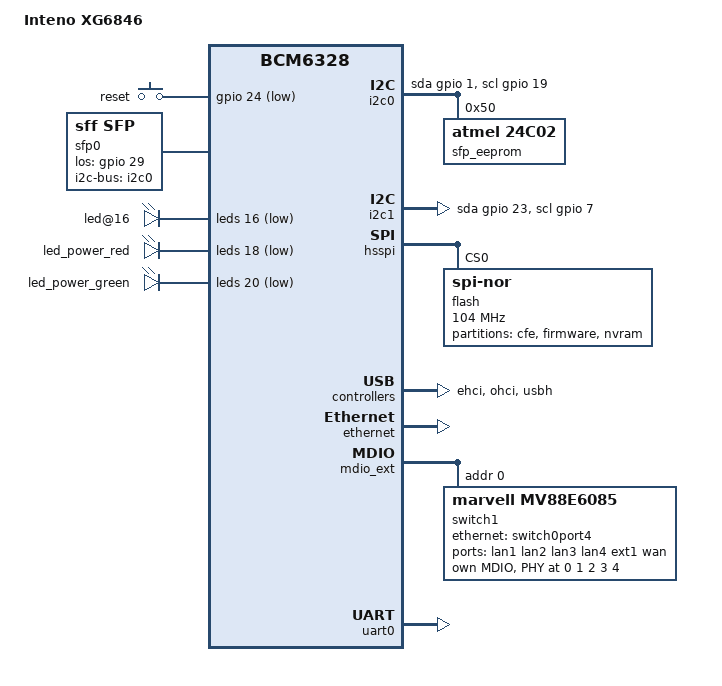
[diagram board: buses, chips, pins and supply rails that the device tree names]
// SPDX-License-Identifier: GPL-2.0

/*
 * Devicetree for the Inteno XG6846 router, mostly used as a
 * media converter from fiber to twisted pair ethernet
 * "fiber modem" in many households in Sweden. The Marvell
 * switch has one of its ports connected to an SFP (Small Form
 * Factor pluggable) optical fiber receiver, which is bridged
 * to the twisted pair connector LAN1.
 *
 * This device tree is inspired by research from the OpenWrt
 * and Sweclockers forums, including contributions from
 * NPeca75, mrhaav and csom.
 *
 * Some devices have a USB type A host receptacle mounted,
 * some do not.
 */

#include "bcm6328.dtsi"

/ {
	model = "Inteno XG6846";
	compatible = "inteno,xg6846", "brcm,bcm6328";

	aliases {
		led-boot = &led_power_red;
		led-failsafe = &led_power_red;
		led-running = &led_power_green;
		led-upgrade = &led_power_red;
	};

	/*
	 * This I2C port is connected to the SFP and reflects the EEPROM etc
	 * inside the SFP module. If the module is not plugged in, consequently
	 * nothing will be found on the bus.
	 */
	i2c0: i2c-sfp {
		compatible = "i2c-gpio";
		sda-gpios = <&gpio 1 (GPIO_ACTIVE_HIGH | GPIO_OPEN_DRAIN)>;
		scl-gpios = <&gpio 19 (GPIO_ACTIVE_HIGH | GPIO_OPEN_DRAIN)>;
		#address-cells = <1>;
		#size-cells = <0>;

		sfp_eeprom: eeprom@50 {
			compatible = "atmel,24c02";
			reg = <0x50>;
			read-only;
		};
	};

	/* This I2C bus is used for the external CATV connector (usually unused) */
	i2c1: i2c-catv {
		compatible = "i2c-gpio";
		sda-gpios = <&gpio 23 (GPIO_ACTIVE_HIGH | GPIO_OPEN_DRAIN)>;
		scl-gpios = <&gpio 7 (GPIO_ACTIVE_HIGH | GPIO_OPEN_DRAIN)>;
		#address-cells = <1>;
		#size-cells = <0>;
	};

	keys {
		compatible = "gpio-keys-polled";
		poll-interval = <100>;

		reset {
			label = "reset";
			gpios = <&gpio 24 GPIO_ACTIVE_LOW>;
			linux,code = <KEY_RESTART>;
			debounce-interval = <60>;
		};
	};

	sfp0: sfp0 {
		compatible = "sff,sfp";
		i2c-bus = <&i2c0>;
		los-gpios = <&gpio 29 GPIO_ACTIVE_HIGH>;
	};
};

&hsspi {
	status = "okay";

	flash@0 {
		compatible = "jedec,spi-nor";
		/*
		 * HW 1.0-1.1: Spansion S25FL128S1
		 * HW 1.3: Winbond W25Q128
		 *
		 * Fast Read Data max speed is 50MHz, see the Winbond W25Q128
		 * datasheet table 9.5 "AC Electrical Characteristics", we can
		 * use this speed because the chip supports fast reads. Older
		 * HW has different NOR chips, I assume they can all do fast
		 * reads.
		 */
		spi-max-frequency = <104000000>;
		spi-tx-bus-width = <2>;
		spi-rx-bus-width = <2>;
		m25p,fast-read;
		reg = <0>;

		#address-cells = <1>;
		#size-cells = <1>;

		partitions {
			compatible = "fixed-partitions";
			#address-cells = <1>;
			#size-cells = <1>;

			partition@0 {
				label = "cfe";
				reg = <0x0000000 0x0010000>;
				read-only;

				nvmem-layout {
					compatible = "fixed-layout";
					#address-cells = <1>;
					#size-cells = <1>;

					macaddr_cfe_6a0: macaddr@6a0 {
						reg = <0x6a0 0x6>;
					};
				};
			};

			partition@10000 {
				compatible = "openwrt,uimage", "denx,uimage";
				reg = <0x010000 0xfe0000>;
				label = "firmware";
				openwrt,offset = <0x30000>;
			};

			partition@ff0000 {
				reg = <0xff0000 0x010000>;
				label = "nvram";
			};
		};
	};
};

&ehci {
	status = "okay";
};

&ethernet {
	status = "okay";

	nvmem-cells = <&macaddr_cfe_6a0>;
	nvmem-cell-names = "mac-address";
};

&leds {
	status = "okay";
	pinctrl-names = "default";
	pinctrl-0 = <&pinctrl_leds>,
		    <&pinctrl_ephy1_spd_led>,
		    <&pinctrl_ephy3_spd_led>;

	led@16 {
		reg = <16>;
		active-low;
		function = LED_FUNCTION_USB;
		color = <LED_COLOR_ID_GREEN>;
	};

	led_power_red: led@18 {
		reg = <18>;
		active-low;
		function = LED_FUNCTION_POWER;
		color = <LED_COLOR_ID_RED>;
		panic-indicator;
	};

	led_power_green: led@20 {
		reg = <20>;
		active-low;
		function = LED_FUNCTION_POWER;
		color = <LED_COLOR_ID_GREEN>;
	};
};

&mdio_ext {
	switch1: switch@0 {
		/* The switch is not using any external IRQ, sadly */
		compatible = "marvell,mv88e6085";
		#address-cells = <1>;
		#size-cells = <0>;
		reg = <0>;

		interrupt-controller;
		#interrupt-cells = <2>;

		dsa,member = <1 0>;

		ports {
			#address-cells = <1>;
			#size-cells = <0>;

			port@0 {
				reg = <0>;
				label = "lan1";

				phy-handle = <&lan1phy>;

				leds {
					#address-cells = <1>;
					#size-cells = <0>;

					led@0 {
						reg = <0>;
						color = <LED_COLOR_ID_GREEN>;
						function = LED_FUNCTION_LAN;
						default-state = "keep";
					};

					led@1 {
						reg = <1>;
						color = <LED_COLOR_ID_AMBER>;
						function = LED_FUNCTION_LAN;
					};
				};
			};

			port@1 {
				reg = <1>;
				label = "lan2";

				phy-handle = <&lan2phy>;

				leds {
					#address-cells = <1>;
					#size-cells = <0>;

					led@0 {
						reg = <0>;
						color = <LED_COLOR_ID_GREEN>;
						function = LED_FUNCTION_LAN;
						default-state = "keep";
					};

					led@1 {
						reg = <1>;
						color = <LED_COLOR_ID_AMBER>;
						function = LED_FUNCTION_LAN;
					};
				};
			};

			port@2 {
				reg = <2>;
				label = "lan3";

				phy-handle = <&lan3phy>;

				leds {
					#address-cells = <1>;
					#size-cells = <0>;

					led@0 {
						reg = <0>;
						color = <LED_COLOR_ID_GREEN>;
						function = LED_FUNCTION_LAN;
						default-state = "keep";
					};

					led@1 {
						reg = <1>;
						color = <LED_COLOR_ID_AMBER>;
						function = LED_FUNCTION_LAN;
					};
				};
			};

			port@3 {
				reg = <3>;
				label = "lan4";

				phy-handle = <&lan4phy>;

				leds {
					#address-cells = <1>;
					#size-cells = <0>;

					led@0 {
						reg = <0>;
						color = <LED_COLOR_ID_GREEN>;
						function = LED_FUNCTION_LAN;
						default-state = "keep";
					};

					led@1 {
						reg = <1>;
						color = <LED_COLOR_ID_AMBER>;
						function = LED_FUNCTION_LAN;
					};
				};
			};

			port@4 {
				reg = <4>;
				label = "ext1";

				phy-handle = <&ext1phy>;

				leds {
					#address-cells = <1>;
					#size-cells = <0>;

					led@0 {
						reg = <0>;
						color = <LED_COLOR_ID_GREEN>;
						function = LED_FUNCTION_WAN;
						default-state = "keep";
					};

					led@1 {
						reg = <1>;
						color = <LED_COLOR_ID_AMBER>;
						function = LED_FUNCTION_WAN;
					};
				};
			};

			port@5 {
				reg = <5>;
				label = "wan";

				phy-mode = "rgmii-id";
				sfp = <&sfp0>;

				fixed-link {
					speed = <1000>;
					full-duplex;
				};

				leds {
					#address-cells = <1>;
					#size-cells = <0>;

					led@0 {
						reg = <0>;
						color = <LED_COLOR_ID_GREEN>;
						function = LED_FUNCTION_WAN;
						default-state = "keep";
					};

					led@1 {
						reg = <1>;
						color = <LED_COLOR_ID_AMBER>;
						function = LED_FUNCTION_WAN;
					};
				};
			};

			port@6 {
				reg = <6>;

				phy-mode = "rgmii-id";
				ethernet = <&switch0port4>;

				fixed-link {
					speed = <1000>;
					full-duplex;
				};
			};
		};

		mdio {
			#address-cells = <1>;
			#size-cells = <0>;

			lan1phy: ethernet-phy@0 {
				reg = <0>;
				interrupt-parent = <&switch1>;
				interrupts = <0 IRQ_TYPE_LEVEL_HIGH>;
			};

			lan2phy: ethernet-phy@1 {
				reg = <1>;
				interrupt-parent = <&switch1>;
				interrupts = <1 IRQ_TYPE_LEVEL_HIGH>;
			};

			lan3phy: ethernet-phy@2 {
				reg = <2>;
				interrupt-parent = <&switch1>;
				interrupts = <2 IRQ_TYPE_LEVEL_HIGH>;
			};

			lan4phy: ethernet-phy@3 {
				reg = <3>;
				interrupt-parent = <&switch1>;
				interrupts = <3 IRQ_TYPE_LEVEL_HIGH>;
			};

			ext1phy: ethernet-phy@4 {
				reg = <4>;
				interrupt-parent = <&switch1>;
				interrupts = <4 IRQ_TYPE_LEVEL_HIGH>;
			};
		};
	};
};

&ohci {
	status = "okay";
};

&pinctrl {
	pinctrl_leds: leds {
		function = "led";
		pins = "gpio16", "gpio18", "gpio20";
	};
};

&switch0 {
	dsa,member = <0 0>;

	ports {
		switch0port4: port@4 {
			reg = <4>;
			label = "extsw";

			phy-mode = "rgmii";

			fixed-link {
				speed = <1000>;
				full-duplex;
			};
		};
	};
};

&uart0 {
	status = "okay";
};

&usbh {
	status = "okay";
};
